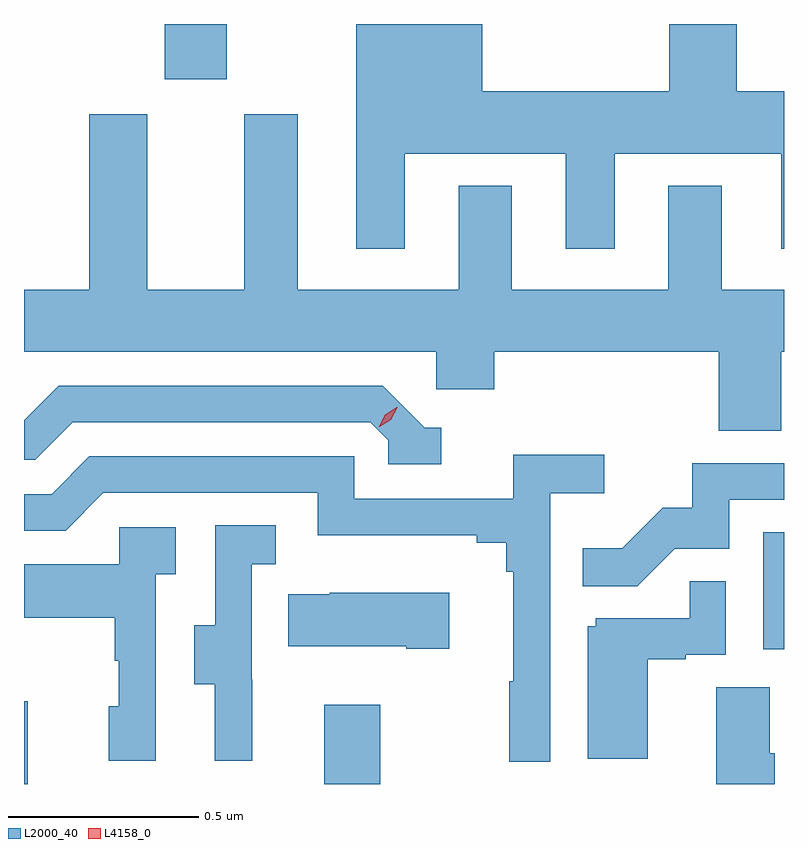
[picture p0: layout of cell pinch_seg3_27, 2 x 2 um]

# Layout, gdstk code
import gdstk
lib = gdstk.Library(unit=1e-6, precision=1e-09)
def R(c, l, rs):  # rectangles x0, y0, x1, y1
    for r in rs: c.add(gdstk.rectangle(r[:2], r[2:], *l))
def P(c, l, *ps):  # polygons
    for p in ps: c.add(gdstk.Polygon(p, *l))
L2000_40 = (2000, 40)
L4158_0 = (4158, 0)

pinch_seg3_27 = lib.new_cell('pinch_seg3_27')
R(pinch_seg3_27, L2000_40, [(1102.033,742.403,1102.043,742.621), (1102.823,742.403,1102.971,742.612), (1103.978,742.758,1104.033,743.065), (1102.403,744.258,1102.567,744.403)])
P(pinch_seg3_27, L2000_40, [(1103.035,744.062),(1103.459,744.062),(1103.459,743.811),(1103.587,743.811),(1103.587,744.062),(1104.026,744.062),(1104.026,743.811),(1104.033,743.811),(1104.033,744.226),(1103.909,744.226),(1103.909,744.403),(1103.731,744.403),(1103.731,744.226),(1103.239,744.226),(1103.239,744.403),(1102.907,744.403),(1102.907,743.811),(1103.035,743.811)],
  [(1104.026,743.54),(1104.033,743.54),(1104.033,743.704),(1103.869,743.704),(1103.869,743.977),(1103.729,743.977),(1103.729,743.704),(1103.317,743.704),(1103.317,743.977),(1103.177,743.977),(1103.177,743.704),(1102.753,743.704),(1102.753,744.166),(1102.613,744.166),(1102.613,743.704),(1102.357,743.704),(1102.357,744.166),(1102.205,744.166),(1102.205,743.704),(1102.033,743.704),(1102.033,743.54),(1103.118,743.54),(1103.118,743.442),(1103.27,743.442),(1103.27,743.54),(1103.861,743.54),(1103.861,743.332),(1104.026,743.332)],
  [(1103.131,743.34),(1103.088,743.34),(1102.977,743.451),(1102.124,743.451),(1102.033,743.36),(1102.033,743.256),(1102.062,743.256),(1102.161,743.355),(1102.944,743.355),(1102.992,743.307),(1102.992,743.244),(1103.131,743.244)],
  [(1103.418,743.168),(1103.56,743.168),(1103.56,743.27),(1103.321,743.27),(1103.321,743.154),(1102.902,743.154),(1102.902,743.265),(1102.205,743.265),(1102.106,743.166),(1102.033,743.166),(1102.033,743.07),(1102.143,743.07),(1102.242,743.169),(1102.806,743.169),(1102.806,743.057),(1103.225,743.057),(1103.225,743.038),(1103.302,743.038),(1103.302,742.961),(1103.321,742.961),(1103.321,742.673),(1103.31,742.673),(1103.31,742.461),(1103.418,742.461)],
  [(1103.745,743.022),(1103.889,743.022),(1103.889,743.151),(1104.033,743.151),(1104.033,743.247),(1103.791,743.247),(1103.791,743.13),(1103.714,743.13),(1103.607,743.023),(1103.503,743.023),(1103.503,742.924),(1103.647,742.924)],
  [(1102.634,742.677),(1102.632,742.677),(1102.632,742.981),(1102.696,742.981),(1102.696,743.084),(1102.536,743.084),(1102.536,742.821),(1102.481,742.821),(1102.481,742.666),(1102.535,742.666),(1102.535,742.464),(1102.634,742.464)],
  [(1102.38,742.955),(1102.432,742.955),(1102.432,743.079),(1102.284,743.079),(1102.284,742.981),(1102.033,742.981),(1102.033,742.841),(1102.272,742.841),(1102.272,742.727),(1102.282,742.727),(1102.282,742.608),(1102.256,742.608),(1102.256,742.464),(1102.38,742.464)],
  [(1103.674,742.731),(1103.774,742.731),(1103.774,742.743),(1103.88,742.743),(1103.88,742.937),(1103.785,742.937),(1103.785,742.839),(1103.538,742.839),(1103.538,742.818),(1103.516,742.818),(1103.516,742.47),(1103.674,742.47)],
  [(1103.152,742.906),(1102.837,742.906),(1102.837,742.903),(1102.729,742.903),(1102.729,742.766),(1103.039,742.766),(1103.039,742.759),(1103.152,742.759)],
  [(1104.008,742.484),(1103.995,742.484),(1103.995,742.658),(1103.855,742.658),(1103.855,742.403),(1104.008,742.403)])
P(pinch_seg3_27, L4158_0, [(1102.967,743.342),(1102.967,743.342),(1102.983,743.375),(1103.014,743.394),(1103.015,743.394),(1103.015,743.393),(1102.998,743.361),(1102.967,743.342)])

lib.write_gds('pinch_seg3_27.gds')
